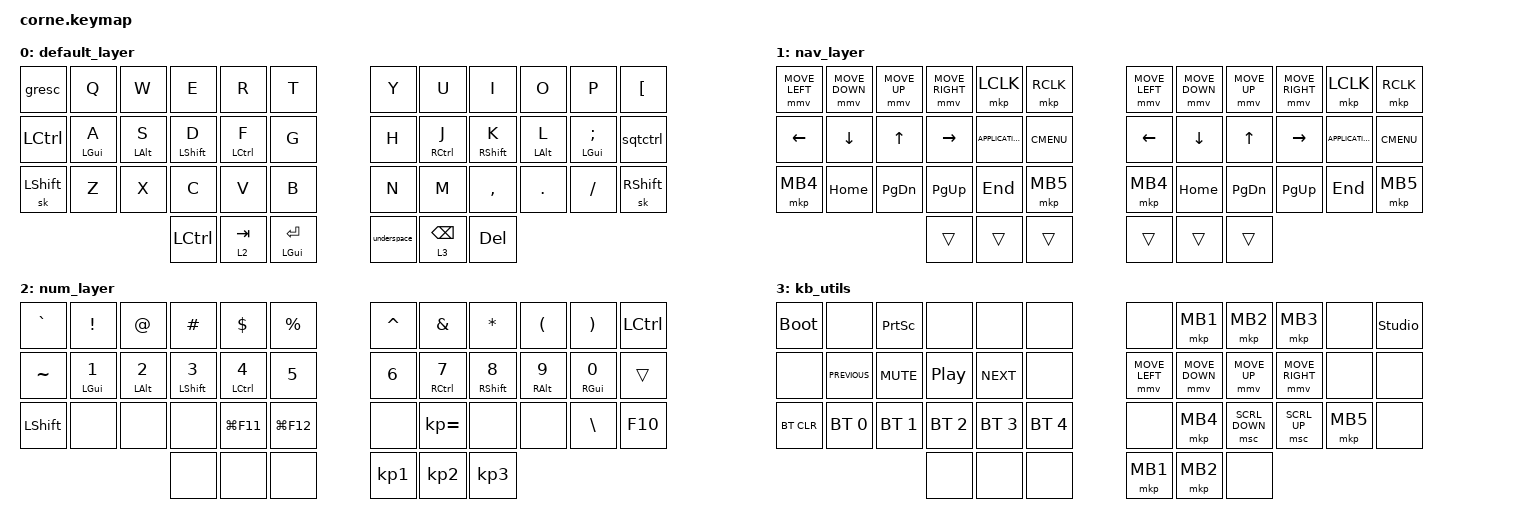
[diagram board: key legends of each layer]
/*
 * Copyright (c) 2020 The ZMK Contributors
 *
 * ==============================================================================
 * Corne Keyboard (CRKBD) - Row-First (Horizontal) Key Indexing
 * ==============================================================================
 *
 * Description:
 * Indexing starts at 0 and proceeds from left to right across the entire row,
 * spanning both halves, before moving down to the next row. This method
 * is commonly used in firmware like ZMK.
 *
 *
 * ------------------------------ MAIN CLUSTER ------------------------------
 *
 * Row 0 (Top): Indices 0 - 11
 *                  <---------- Left Half ------->    <-------- Right Half --------->
 *                  ┌────┬────┬────┬────┬────┬────┐   ┌────┬────┬────┬────┬────┬────┐
 *                  │ 00 │ 01 │ 02 │ 03 │ 04 │ 05 │   │ 06 │ 07 │ 08 │ 09 │ 10 │ 11 │
 *                  ├────┼────┼────┼────┼────┼────┤   ├────┼────┼────┼────┼────┼────┤
 *                  │ 12 │ 13 │ 14 │ 15 │ 16 │ 17 │   │ 18 │ 19 │ 20 │ 21 │ 22 │ 23 │
 *                  ├────┼────┼────┼────┼────┼────┤   ├────┼────┼────┼────┼────┼────┤
 *                  │ 24 │ 25 │ 26 │ 27 │ 28 │ 29 │   │ 30 │ 31 │ 32 │ 33 │ 34 │ 35 │
 *                  └────┴────┴────┴────┴────┴────┘   └────┴────┴────┴────┴────┴────┘
 *
 *
 * ----------------------------- THUMB CLUSTERS -----------------------------
 *
 * Row 3 (Thumbs): Indices 36 - 41
 *                                <- Left Cluster ->  <- Right Cluster ->
 *                                 ┌────┬────┬────┐   ┌────┬────┬────┐
 *                                 │ 36 │ 37 │ 38 │   │ 39 │ 40 │ 41 │
 *                                 └────┴────┴────┘   └────┴────┴────┘
 *
 *
 * Index Range Summary:
 * -----------------------------
 *  - Top Row:       0 - 11
 *  - Home Row:     12 - 23
 *  - Bottom Row:   24 - 35
 *  - Thumb Cluster: 36 - 41
 * -----------------------------
 *  Total Keys: 42 (indices 0 through 41)
 *
 */

#define ZMK_POINTING_DEFAULT_MOVE_VAL 800  // default: 600
#define ZMK_POINTING_DEFAULT_SCRL_VAL 20    // default: 10

#include <zmk-helpers/key-labels/42.h>
#include <behaviors.dtsi>
#include <dt-bindings/zmk/bt.h>
#include <dt-bindings/zmk/keys.h>
#include <dt-bindings/zmk/pointing.h>


&sk {
    release-after-ms = <1000>;
    quick-release;
    lazy;
    ignore-modifiers;
};

&mmv {
    acceleration-exponent = <1>;          // 1
    time-to-max-speed-ms = <500>;         // 300
    delay-ms = <0>;                       // 0
};

&lt {
    tapping-term-ms = <200>; // default 200
    flavor = "balanced"; // or hold-preferred or tap-preferred
    quick-tap-ms = <219>;
};

&mt {
    tapping-term-ms = <200>; // default 200
    quick-tap-ms = <219>;
};

/ {
    combos {
        compatible = "zmk,combos";

        // -- parenthesis and brackets

        combo_para_left {
            bindings = <&kp LEFT_PARENTHESIS>;
            key-positions = <4 5>;
            timeout-ms = <30>;
        };

        combo_para_right {
            bindings = <&kp RIGHT_PARENTHESIS>;
            key-positions = <6 7>;
            timeout-ms = <30>;
        };

        combo_brack_left {
            bindings = <&kp LEFT_BRACKET>;
            key-positions = <16 17>;
            timeout-ms = <30>;
        };

        combo_brack_right {
            bindings = <&kp RIGHT_BRACKET>;
            key-positions = <18 19>;
            timeout-ms = <30>;
        };

        combo_brace_left {
            bindings = <&kp LEFT_BRACE>;
            key-positions = <28 29>;
            timeout-ms = <30>;
        };

        combo_brace_right {
            bindings = <&kp RIGHT_BRACE>;
            key-positions = <30 31>;
            timeout-ms = <30>;
        };

        //

        combo_double_quote {
            bindings = <&kp DOUBLE_QUOTES>;
            key-positions = <15 16>;
            timeout-ms = <30>;
        };

        combo_apostr {
            bindings = <&kp APOSTROPHE>;
            key-positions = <19 20>;
            timeout-ms = <30>;
        };

        combo_tilda {
            bindings = <&kp TILDE>;
            key-positions = <0 12>;
            timeout-ms = <30>;
        };

        combo_grave {
            bindings = <&kp GRAVE>;
            key-positions = <12 24>;
            timeout-ms = <30>;
        };

        combo_minus {
            bindings = <&kp MINUS>;
            key-positions = <3 4>;
            timeout-ms = <30>;
        };

        combo_plus {
            bindings = <&kp PLUS>;
            key-positions = <2 3>;
            timeout-ms = <30>;
        };

        combo_underscore {
            bindings = <&kp UNDERSCORE>;
            key-positions = <7 8>;
            timeout-ms = <30>;
        };

        combo_pipe {
            bindings = <&kp PIPE>;
            key-positions = <8 9>;
            timeout-ms = <30>;
        };

        combo_lt {
            bindings = <&kp LESS_THAN>;
            key-positions = <27 28>;
            timeout-ms = <30>;
        };

        combo_caps_word {
            bindings = <&caps_word>;
            key-positions = <17 18>;
            layers = <0>;
        };

        combo_caps_lock {
            bindings = <&kp CAPSLOCK>;
            key-positions = <5 6>;
            layers = <0>;
        };


        combo_gt {
            bindings = <&kp GREATER_THAN>;
            key-positions = <31 32>;
            timeout-ms = <30>;
        };

        combo_vol_up {
            bindings = <&kp C_VOLUME_UP>;
            key-positions = <11 23>;
            layers = <0>;
        };

        combo_vol_down {
            bindings = <&kp C_VOLUME_DOWN>;
            key-positions = <23 35>;
            layers = <0>;
        };


        // combo_em-dash {
        //     bindings = <&emdsh>;
        //     key-positions = <2 3 4>;
        //     layers = <0>;
        // };
    };

    macros {
        arrow_func: arrow_func {
            compatible = "zmk,behavior-macro";
            #binding-cells = <0>;
            bindings = <&kp EQUAL &kp GT>, <&macro_press>;

            label = "ARROW_FUNC";
        };

        emdsh: emdsh {
            compatible = "zmk,behavior-macro";
            #binding-cells = <0>;
            bindings =
                <&kp SPACE &kp MINUS &kp MINUS &kp SPACE>,
                <&macro_press>;

            label = "EMDSH";
        };
    };

    behaviors {
        lbhm: left_balanced_homerow_mods {
            compatible = "zmk,behavior-hold-tap";
            #binding-cells = <2>;
            tapping-term-ms = <219>;    // <---[[moderate duration]]
            quick-tap-ms = <175>;
            flavor = "balanced";
            bindings = <&kp>, <&kp>;
            hold-trigger-key-positions = < 6 7 8 9 10 11 18 19 20 21 22 23 30 31 32 33 34 35 39 40 41 >;
            hold-trigger-on-release;
        };

        rbhm: right_balanced_homerow_mods {
            compatible = "zmk,behavior-hold-tap";
            #binding-cells = <2>;
            tapping-term-ms = <219>;    // <---[[moderate duration]]
            quick-tap-ms = <175>;
            flavor = "balanced";
            bindings = <&kp>, <&kp>;
            hold-trigger-key-positions = < 0 1 2 3 4 5 12 13 14 15 16 17 24 25 26 27 28 29 36 37 38 >;
            hold-trigger-on-release;
        };

        arrow_func_tap: arrow_func_tap {
            compatible = "zmk,behavior-tap-dance";
            label = "ARROW_FUNC_TAP";
            #binding-cells = <0>;
            bindings = <&kp GREATER_THAN>, <&arrow_func>;
        };

        underspace: underspace {
            compatible = "zmk,behavior-mod-morph";
            label = "UNDERSPACE";
            bindings = <&lt 1 SPACE>, <&kp UNDER>;

            #binding-cells = <0>;
            mods = <(MOD_RSFT)>;
        };

        sqtctrl: squote_lctrl {
            compatible = "zmk,behavior-tap-dance";
            #binding-cells = <0>;
            tapping-term-ms = <200>;
            bindings = <&kp SQT>, <&kp LC(RET)>;
        };
    };

    keymap {
        compatible = "zmk,keymap";

        default_layer {
            bindings = <
&gresc     &kp Q         &kp W            &kp E              &kp R         &kp T        &kp Y           &kp U            &kp I               &kp O            &kp P                 &kp LEFT_BRACKET
&kp LCTRL  &lbhm LGUI A  &lbhm LALT S  &lbhm LEFT_SHIFT D  &lbhm LCTRL F  &kp G        &kp H           &rbhm RCTRL J     &rbhm RSHIFT K  &rbhm LALT L  &rbhm LGUI SEMICOLON  &sqtctrl
&sk LSHFT  &kp Z         &kp X            &kp C              &kp V         &kp B        &kp N           &kp M            &kp COMMA           &kp DOT          &kp FSLH              &sk RSHIFT
                                          &kp LCTRL          &lt 2 TAB     &mt LGUI RET &underspace     &lt 3 BACKSPACE  &kp DEL
            >;
        };
        nav_layer {
            bindings = <
&mmv MOVE_LEFT     &mmv MOVE_DOWN  &mmv MOVE_UP    &mmv MOVE_RIGHT  &mkp LCLK          &mkp RCLK            &mmv MOVE_LEFT     &mmv MOVE_DOWN  &mmv MOVE_UP    &mmv MOVE_RIGHT  &mkp LCLK          &mkp RCLK
&kp LEFT           &kp DOWN_ARROW  &kp UP_ARROW    &kp RIGHT        &kp K_APPLICATION  &kp K_CMENU          &kp LEFT           &kp DOWN_ARROW  &kp UP_ARROW    &kp RIGHT        &kp K_APPLICATION  &kp K_CMENU
&mkp MB4           &kp HOME        &kp PAGE_DOWN   &kp PG_UP        &kp END            &mkp MB5             &mkp MB4           &kp HOME        &kp PAGE_DOWN   &kp PG_UP        &kp END            &mkp MB5
                                                   &trans           &trans             &trans               &trans             &trans          &trans
            >;
        };

        num_layer {
            bindings = <
&kp GRAVE      &kp EXCL       &kp AT       &kp HASH      &kp DLLR     &kp PRCNT         &kp CARET     &kp AMPS      &kp ASTRK      &kp LPAR      &kp RPAR      &kp LCTRL
&kp TILDE   &lbhm LGUI N1      &lbhm LALT  N2      &lbhm LSHFT N3      &lbhm LCTRL NUMBER_4  &kp N5             &kp N6     &rbhm RCTRL NUMBER_7  &rbhm RSHIFT N8      &rbhm RALT N9      &rbhm RGUI N0      &trans
&kp LSHFT   &none       &none       &none       &kp LG(F11)          &kp LG(F12)        &none       &kp KP_EQUAL         &none       &none       &kp BSLH    &kp F10
                                    &none       &none                &none              &kp KP_N1   &kp KP_N2            &kp KP_N3
            >;
        };

        kb_utils {
            bindings = <
&bootloader  &none           &kp PSCRN     &none             &none         &none           &none            &mkp MB1        &mkp MB2        &mkp MB3          &none        &studio_unlock
&none        &kp C_PREVIOUS  &kp C_MUTE    &kp C_PLAY_PAUSE  &kp C_NEXT    &none           &mmv MOVE_LEFT   &mmv MOVE_DOWN  &mmv MOVE_UP    &mmv MOVE_RIGHT   &none        &none
&bt BT_CLR   &bt BT_SEL 0    &bt BT_SEL 1  &bt BT_SEL 2      &bt BT_SEL 3  &bt BT_SEL 4    &none            &mkp MB4        &msc SCRL_DOWN  &msc SCRL_UP      &mkp MB5     &none
                                           &none             &none         &none           &mkp MB1         &mkp MB2        &none
            >;
        };
    };

    conditional_layers { compatible = "zmk,conditional-layers"; };
};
